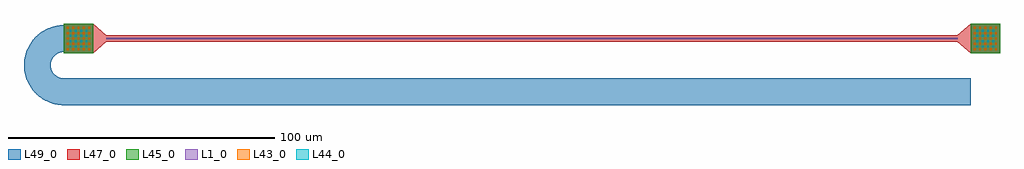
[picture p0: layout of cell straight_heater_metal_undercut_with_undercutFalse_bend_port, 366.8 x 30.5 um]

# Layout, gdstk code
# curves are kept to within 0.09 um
from math import pi, radians
import gdstk
lib = gdstk.Library(unit=1e-6, precision=1e-09)
def R(c, l, rs):  # rectangles x0, y0, x1, y1
    for r in rs: c.add(gdstk.rectangle(r[:2], r[2:], *l))
def P(c, l, *ps):  # polygons
    for p in ps: c.add(gdstk.Polygon(p, *l))
L1_0 = (1, 0)
L43_0 = (43, 0)
L44_0 = (44, 0)
L45_0 = (45, 0)
L47_0 = (47, 0)
L49_0 = (49, 0)

straight_add_pinsfalse_l = lib.new_cell('straight_add_pinsFalse_length0p1')
R(straight_add_pinsfalse_l, L1_0, [(0,-0.25,0.1,0.25)])

straight_efd70b70 = lib.new_cell('straight_efd70b70')
R(straight_efd70b70, L1_0, [(0,-0.25,15.9,0.25)])
R(straight_efd70b70, L47_0, [(0,-1.25,15.9,1.25)])

straight_4c389c95 = lib.new_cell('straight_4c389c95')
R(straight_4c389c95, L1_0, [(0,-0.25,30,0.25)])
R(straight_4c389c95, L47_0, [(0,-1.25,30,1.25)])

straight_bc9a50f1 = lib.new_cell('straight_bc9a50f1')
R(straight_bc9a50f1, L1_0, [(0,-0.25,6,0.25)])
R(straight_bc9a50f1, L47_0, [(0,-1.25,6,1.25)])

component_sequence_1e07b = lib.new_cell('component_sequence_1e07b91c')
component_sequence_1e07b.add(gdstk.Reference(straight_add_pinsfalse_l, (0,0)))
component_sequence_1e07b.add(gdstk.Reference(straight_efd70b70, (0.1,0)))
component_sequence_1e07b.add(gdstk.Reference(straight_4c389c95, (16,0)))
component_sequence_1e07b.add(gdstk.Reference(straight_bc9a50f1, (46,0)))
component_sequence_1e07b.add(gdstk.Reference(straight_4c389c95, (52,0)))
component_sequence_1e07b.add(gdstk.Reference(straight_bc9a50f1, (82,0)))
component_sequence_1e07b.add(gdstk.Reference(straight_4c389c95, (88,0)))
component_sequence_1e07b.add(gdstk.Reference(straight_bc9a50f1, (118,0)))
component_sequence_1e07b.add(gdstk.Reference(straight_4c389c95, (124,0)))
component_sequence_1e07b.add(gdstk.Reference(straight_bc9a50f1, (154,0)))
component_sequence_1e07b.add(gdstk.Reference(straight_4c389c95, (160,0)))
component_sequence_1e07b.add(gdstk.Reference(straight_bc9a50f1, (190,0)))
component_sequence_1e07b.add(gdstk.Reference(straight_4c389c95, (196,0)))
component_sequence_1e07b.add(gdstk.Reference(straight_bc9a50f1, (226,0)))
component_sequence_1e07b.add(gdstk.Reference(straight_4c389c95, (232,0)))
component_sequence_1e07b.add(gdstk.Reference(straight_bc9a50f1, (262,0)))
component_sequence_1e07b.add(gdstk.Reference(straight_4c389c95, (268,0)))
component_sequence_1e07b.add(gdstk.Reference(straight_bc9a50f1, (298,0)))
component_sequence_1e07b.add(gdstk.Reference(straight_efd70b70, (304,0)))
component_sequence_1e07b.add(gdstk.Reference(straight_add_pinsfalse_l, (319.9,0)))

compass_d8224c77 = lib.new_cell('compass_d8224c77')
R(compass_d8224c77, L47_0, [(-5.5,-5.5,5.5,5.5)])

compass_layerm2_size11p0 = lib.new_cell('compass_layerM2_size11p0__11p0')
R(compass_layerm2_size11p0, L45_0, [(-5.5,-5.5,5.5,5.5)])

compass_layermtop_size11 = lib.new_cell('compass_layerMTOP_size11p0__11p0')
R(compass_layermtop_size11, L49_0, [(-5.5,-5.5,5.5,5.5)])

via_enclosure2_layervia1 = lib.new_cell('via_enclosure2_layerVIA1')
R(via_enclosure2_layervia1, L44_0, [(-0.35,-0.35,0.35,0.35)])

via_layervia2 = lib.new_cell('via_layerVIA2')
R(via_layervia2, L43_0, [(-0.35,-0.35,0.35,0.35)])

via_stack_64ed2af4 = lib.new_cell('via_stack_64ed2af4')
via_stack_64ed2af4.add(gdstk.Reference(compass_d8224c77, (0,0)))
via_stack_64ed2af4.add(gdstk.Reference(compass_layerm2_size11p0, (0,0)))
via_stack_64ed2af4.add(gdstk.Reference(compass_layermtop_size11, (0,0)))
r = gdstk.Reference(via_enclosure2_layervia1, (-3,-3)); r.repetition = gdstk.Repetition(4, 4, v1=(2,0), v2=(0,2)); via_stack_64ed2af4.add(r)
r = gdstk.Reference(via_layervia2, (-4,-4)); r.repetition = gdstk.Repetition(5, 5, v1=(2,0), v2=(0,2)); via_stack_64ed2af4.add(r)

taper_724fbfc5 = lib.new_cell('taper_724fbfc5')
P(taper_724fbfc5, L47_0, [(0,5.5),(5,1.25),(5,-1.25),(0,-5.5)])

straight_heater_metal_un = lib.new_cell('straight_heater_metal_undercut_with_undercutFalse')
straight_heater_metal_un.add(gdstk.Reference(component_sequence_1e07b, (0,0)))
straight_heater_metal_un.add(gdstk.Reference(via_stack_64ed2af4, (-10.4,0)))
straight_heater_metal_un.add(gdstk.Reference(via_stack_64ed2af4, (330.4,0)))
straight_heater_metal_un.add(gdstk.Reference(taper_724fbfc5, (-4.9,0)))
straight_heater_metal_un.add(gdstk.Reference(taper_724fbfc5, (324.9,0), rotation=pi))

bend_circular_ccd4507e = lib.new_cell('bend_circular_ccd4507e')
P(bend_circular_ccd4507e, L49_0, [(0,-5),(3.02,-4.693),(5.915,-3.785),(8.255,-2.525),(10.607,-0.607),(12.525,1.745),(13.785,4.085),(14.693,6.98),(15,10),(14.693,13.02),(13.785,15.915),(12.525,18.255),(10.607,20.607),(8.255,22.525),(5.915,23.785),(3.02,24.693),(0,25),(0,15),(1.855,14.643),(2.751,14.175),(3.535,13.535),(4.175,12.751),(4.643,11.855),(5,10),(4.643,8.145),(4.175,7.249),(3.535,6.465),(2.751,5.825),(1.855,5.357),(0,5)])

straight_97c87fdc = lib.new_cell('straight_97c87fdc')
R(straight_97c87fdc, L49_0, [(0,-5,340.8,5)])

c_straight_heater_metal_un = lib.new_cell('straight_heater_metal_undercut_with_undercutFalse_bend_port')
c_straight_heater_metal_un.add(gdstk.Reference(straight_heater_metal_un, (0,0)))
c_straight_heater_metal_un.add(gdstk.Reference(bend_circular_ccd4507e, (-15.9,0), rotation=pi))
c_straight_heater_metal_un.add(gdstk.Reference(straight_97c87fdc, (324.9,-20), rotation=pi))

lib.write_gds('straight_heater_metal_undercut_with_undercutFalse_bend_port.gds')
